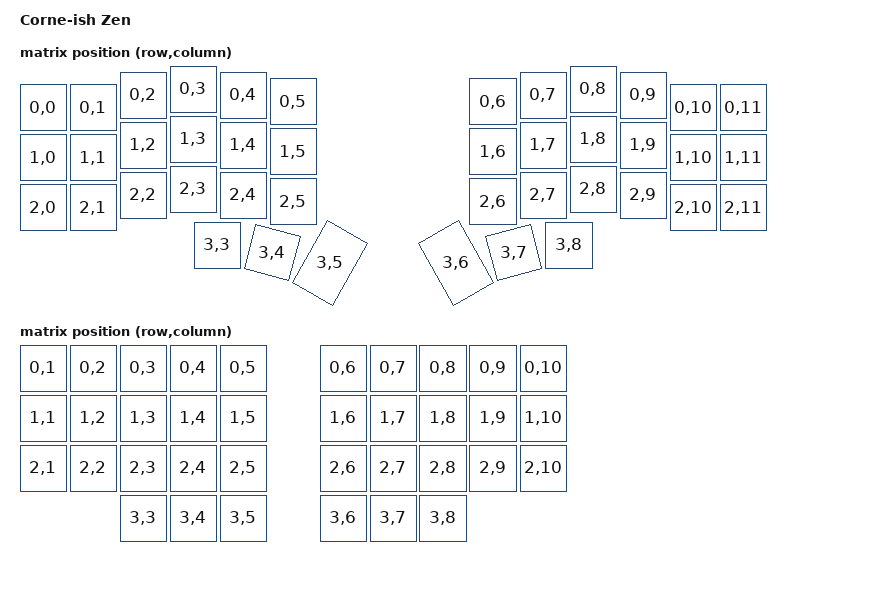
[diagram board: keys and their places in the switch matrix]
/*
*
* Copyright (c) 2021 Darryl deHaan
* SPDX-License-Identifier: MIT
*
*/

/* /dts-v1/;    */
#include <nordic/nrf52840_qiaa.dtsi>
#include <physical_layouts.dtsi>
#include <dt-bindings/zmk/matrix_transform.h>

/ {
    model = "Corne-ish Zen";
    compatible = "corneish_zen, physical-layout";

    chosen {
        zephyr,code-partition = &code_partition;
        zephyr,sram = &sram0;
        zephyr,flash = &flash0;
        zmk,kscan = &kscan0;
        zmk,display = &epd;
        zephyr,console = &cdc_acm_uart;
        zmk,matrix-transform = &default_transform;
    };

    default_transform: keymap_transform_0 {
        compatible = "zmk,matrix-transform";
        columns = <12>;
        rows = <4>;

    keys  //                     w   h    x    y     rot    rx    ry
            = <&key_physical_attrs 100 100    0   37       0     0     0>
            , <&key_physical_attrs 100 100  100   37       0     0     0>
            , <&key_physical_attrs 100 100  200   12       0     0     0>
            , <&key_physical_attrs 100 100  300    0       0     0     0>
            , <&key_physical_attrs 100 100  400   12       0     0     0>
            , <&key_physical_attrs 100 100  500   25       0     0     0>
            , <&key_physical_attrs 100 100  900   25       0     0     0>
            , <&key_physical_attrs 100 100 1000   12       0     0     0>
            , <&key_physical_attrs 100 100 1100    0       0     0     0>
            , <&key_physical_attrs 100 100 1200   12       0     0     0>
            , <&key_physical_attrs 100 100 1300   37       0     0     0>
            , <&key_physical_attrs 100 100 1400   37       0     0     0>
            , <&key_physical_attrs 100 100    0  137       0     0     0>
            , <&key_physical_attrs 100 100  100  137       0     0     0>
            , <&key_physical_attrs 100 100  200  112       0     0     0>
            , <&key_physical_attrs 100 100  300  100       0     0     0>
            , <&key_physical_attrs 100 100  400  112       0     0     0>
            , <&key_physical_attrs 100 100  500  125       0     0     0>
            , <&key_physical_attrs 100 100  900  125       0     0     0>
            , <&key_physical_attrs 100 100 1000  112       0     0     0>
            , <&key_physical_attrs 100 100 1100  100       0     0     0>
            , <&key_physical_attrs 100 100 1200  112       0     0     0>
            , <&key_physical_attrs 100 100 1300  137       0     0     0>
            , <&key_physical_attrs 100 100 1400  137       0     0     0>
            , <&key_physical_attrs 100 100    0  237       0     0     0>
            , <&key_physical_attrs 100 100  100  237       0     0     0>
            , <&key_physical_attrs 100 100  200  212       0     0     0>
            , <&key_physical_attrs 100 100  300  200       0     0     0>
            , <&key_physical_attrs 100 100  400  212       0     0     0>
            , <&key_physical_attrs 100 100  500  225       0     0     0>
            , <&key_physical_attrs 100 100  900  225       0     0     0>
            , <&key_physical_attrs 100 100 1000  212       0     0     0>
            , <&key_physical_attrs 100 100 1100  200       0     0     0>
            , <&key_physical_attrs 100 100 1200  212       0     0     0>
            , <&key_physical_attrs 100 100 1300  237       0     0     0>
            , <&key_physical_attrs 100 100 1400  237       0     0     0>
            , <&key_physical_attrs 100 100  348  312       0     0     0>
            , <&key_physical_attrs 100 100  348  312    1500   398   789>
            , <&key_physical_attrs 100 150  348  262    3000   398   789>
            , <&key_physical_attrs 100 150 1052  262 (-3000)  1102   789>
            , <&key_physical_attrs 100 100 1052  312 (-1500)  1102   789>
            , <&key_physical_attrs 100 100 1052  312       0     0     0>
            ;


            // | SW1  | SW2  | SW3  | SW4  | SW5  | SW6  |   | SW6  | SW5  | SW4  | SW3  | SW2  | SW1  |
            // | SW7  | SW8  | SW9  | SW10 | SW11 | SW12 |   | SW12 | SW11 | SW10 | SW9  | SW8  | SW7  |
            // | SW13 | SW14 | SW15 | SW16 | SW17 | SW18 |   | SW18 | SW17 | SW16 | SW15 | SW14 | SW13 |
            //                      | SW19 | SW20 | SW21 |   | SW21 | SW20 | SW19 |
                    map = <
            RC(0,0) RC(0,1) RC(0,2) RC(0,3) RC(0,4) RC(0,5)  RC(0,6) RC(0,7) RC(0,8) RC(0,9) RC(0,10) RC(0,11)
            RC(1,0) RC(1,1) RC(1,2) RC(1,3) RC(1,4) RC(1,5)  RC(1,6) RC(1,7) RC(1,8) RC(1,9) RC(1,10) RC(1,11)
            RC(2,0) RC(2,1) RC(2,2) RC(2,3) RC(2,4) RC(2,5)  RC(2,6) RC(2,7) RC(2,8) RC(2,9) RC(2,10) RC(2,11)
                                    RC(3,3) RC(3,4) RC(3,5)  RC(3,6) RC(3,7) RC(3,8)
        >;
    };

    five_column_transform: keymap_transform_1 {
        compatible = "zmk,matrix-transform";
        columns = <10>;
        rows = <4>;

            // | SW2  | SW3  | SW4  | SW5  | SW6  |   | SW6  | SW5  | SW4  | SW3  | SW2  |
            // | SW8  | SW9  | SW10 | SW11 | SW12 |   | SW12 | SW11 | SW10 | SW9  | SW8  |
            // | SW14 | SW15 | SW16 | SW17 | SW18 |   | SW18 | SW17 | SW16 | SW15 | SW14 |
            //               | SW19 | SW20 | SW21 |   | SW21 | SW20 | SW19 |
        map = <
            RC(0,1) RC(0,2) RC(0,3) RC(0,4) RC(0,5)  RC(0,6) RC(0,7) RC(0,8) RC(0,9) RC(0,10)
            RC(1,1) RC(1,2) RC(1,3) RC(1,4) RC(1,5)  RC(1,6) RC(1,7) RC(1,8) RC(1,9) RC(1,10)
            RC(2,1) RC(2,2) RC(2,3) RC(2,4) RC(2,5)  RC(2,6) RC(2,7) RC(2,8) RC(2,9) RC(2,10)
                            RC(3,3) RC(3,4) RC(3,5)  RC(3,6) RC(3,7) RC(3,8)
        >;
    };

};

&adc {
    status = "okay";
};

&gpiote {
    status = "okay";
};

&gpio0 {
    status = "okay";
};

&gpio1 {
    status = "okay";
};

&usbd {
    status = "okay";
    cdc_acm_uart: cdc_acm_uart {
        compatible = "zephyr,cdc-acm-uart";
    };
};

&flash0 {
    /*
     * For more information, see:
     * http://docs.zephyrproject.org/latest/devices/dts/flash_partitions.html
     */
    partitions {
        compatible = "fixed-partitions";
        #address-cells = <1>;
        #size-cells = <1>;

        sd_partition: partition@0 {
            reg = <0x00000000 0x00026000>;
        };
        code_partition: partition@26000 {
            reg = <0x00026000 0x000c6000>;
        };

        /*
         * The flash starting at 0x000ec000 and ending at
         * 0x000f3fff is reserved for use by the application.
         */

        /*
         * Storage partition will be used by FCB/LittleFS/NVS
         * if enabled.
         */
        storage_partition: partition@ec000 {
            reg = <0x000ec000 0x00008000>;
        };

        boot_partition: partition@f4000 {
            reg = <0x000f4000 0x0000c000>;
        };
    };
};
